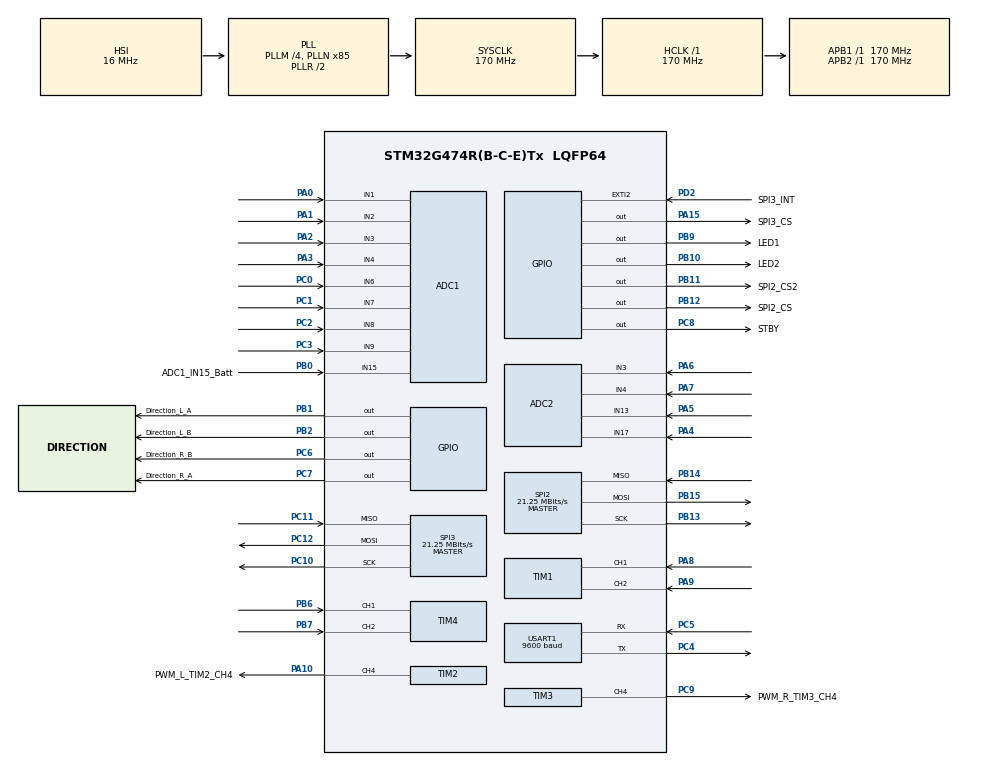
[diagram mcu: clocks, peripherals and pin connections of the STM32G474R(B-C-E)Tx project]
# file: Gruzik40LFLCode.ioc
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ADC1.Channel-0\#ChannelRegularConversion=ADC_CHANNEL_3
ADC1.Channel-1\#ChannelRegularConversion=ADC_CHANNEL_2
ADC1.Channel-2\#ChannelRegularConversion=ADC_CHANNEL_1
ADC1.Channel-3\#ChannelRegularConversion=ADC_CHANNEL_9
ADC1.Channel-4\#ChannelRegularConversion=ADC_CHANNEL_15
ADC1.Channel-5\#ChannelRegularConversion=ADC_CHANNEL_8
ADC1.Channel-6\#ChannelRegularConversion=ADC_CHANNEL_7
ADC1.Channel-7\#ChannelRegularConversion=ADC_CHANNEL_6
ADC1.Channel-8\#ChannelRegularConversion=ADC_CHANNEL_4
ADC1.ContinuousConvMode=ENABLE
ADC1.DMAContinuousRequests=ENABLE
ADC1.EnableAnalogWatchDog1=false
ADC1.NbrOfConversion=9
ADC1.NbrOfConversionFlag=1
ADC1.OffsetNumber-0\#ChannelRegularConversion=ADC_OFFSET_NONE
ADC1.OffsetNumber-1\#ChannelRegularConversion=ADC_OFFSET_NONE
ADC1.OffsetNumber-2\#ChannelRegularConversion=ADC_OFFSET_NONE
ADC1.OffsetNumber-3\#ChannelRegularConversion=ADC_OFFSET_NONE
ADC1.OffsetNumber-4\#ChannelRegularConversion=ADC_OFFSET_NONE
ADC1.OffsetNumber-5\#ChannelRegularConversion=ADC_OFFSET_NONE
ADC1.OffsetNumber-6\#ChannelRegularConversion=ADC_OFFSET_NONE
ADC1.OffsetNumber-7\#ChannelRegularConversion=ADC_OFFSET_NONE
ADC1.OffsetNumber-8\#ChannelRegularConversion=ADC_OFFSET_NONE
ADC1.Rank-0\#ChannelRegularConversion=1
ADC1.Rank-1\#ChannelRegularConversion=2
ADC1.Rank-2\#ChannelRegularConversion=3
ADC1.Rank-3\#ChannelRegularConversion=4
ADC1.Rank-4\#ChannelRegularConversion=5
ADC1.Rank-5\#ChannelRegularConversion=6
ADC1.Rank-6\#ChannelRegularConversion=7
ADC1.Rank-7\#ChannelRegularConversion=8
ADC1.Rank-8\#ChannelRegularConversion=9
ADC1.SamplingTime-0\#ChannelRegularConversion=ADC_SAMPLETIME_47CYCLES_5
ADC1.SamplingTime-1\#ChannelRegularConversion=ADC_SAMPLETIME_47CYCLES_5
ADC1.SamplingTime-2\#ChannelRegularConversion=ADC_SAMPLETIME_47CYCLES_5
ADC1.SamplingTime-3\#ChannelRegularConversion=ADC_SAMPLETIME_47CYCLES_5
ADC1.SamplingTime-4\#ChannelRegularConversion=ADC_SAMPLETIME_47CYCLES_5
ADC1.SamplingTime-5\#ChannelRegularConversion=ADC_SAMPLETIME_47CYCLES_5
ADC1.SamplingTime-6\#ChannelRegularConversion=ADC_SAMPLETIME_47CYCLES_5
ADC1.SamplingTime-7\#ChannelRegularConversion=ADC_SAMPLETIME_47CYCLES_5
ADC1.SamplingTime-8\#ChannelRegularConversion=ADC_SAMPLETIME_47CYCLES_5
ADC1.master=1
ADC2.Channel-0\#ChannelRegularConversion=ADC_CHANNEL_17
ADC2.Channel-1\#ChannelRegularConversion=ADC_CHANNEL_13
ADC2.Channel-2\#ChannelRegularConversion=ADC_CHANNEL_3
ADC2.Channel-3\#ChannelRegularConversion=ADC_CHANNEL_4
ADC2.ContinuousConvMode=ENABLE
ADC2.DMAContinuousRequests=ENABLE
ADC2.NbrOfConversion=4
ADC2.NbrOfConversionFlag=1
ADC2.OffsetNumber-0\#ChannelRegularConversion=ADC_OFFSET_NONE
ADC2.OffsetNumber-1\#ChannelRegularConversion=ADC_OFFSET_NONE
ADC2.OffsetNumber-2\#ChannelRegularConversion=ADC_OFFSET_NONE
ADC2.OffsetNumber-3\#ChannelRegularConversion=ADC_OFFSET_NONE
ADC2.Rank-0\#ChannelRegularConversion=1
ADC2.Rank-1\#ChannelRegularConversion=2
ADC2.Rank-2\#ChannelRegularConversion=3
ADC2.Rank-3\#ChannelRegularConversion=4
ADC2.SamplingTime-0\#ChannelRegularConversion=ADC_SAMPLETIME_47CYCLES_5
ADC2.SamplingTime-1\#ChannelRegularConversion=ADC_SAMPLETIME_47CYCLES_5
ADC2.SamplingTime-2\#ChannelRegularConversion=ADC_SAMPLETIME_47CYCLES_5
ADC2.SamplingTime-3\#ChannelRegularConversion=ADC_SAMPLETIME_47CYCLES_5
Dma.ADC1.0.Direction=DMA_PERIPH_TO_MEMORY
Dma.ADC1.0.EventEnable=DISABLE
Dma.ADC1.0.Instance=DMA1_Channel1
Dma.ADC1.0.MemDataAlignment=DMA_MDATAALIGN_HALFWORD
Dma.ADC1.0.MemInc=DMA_MINC_ENABLE
Dma.ADC1.0.Mode=DMA_CIRCULAR
Dma.ADC1.0.PeriphDataAlignment=DMA_PDATAALIGN_HALFWORD
Dma.ADC1.0.PeriphInc=DMA_PINC_DISABLE
Dma.ADC1.0.Polarity=HAL_DMAMUX_REQ_GEN_RISING
Dma.ADC1.0.Priority=DMA_PRIORITY_LOW
Dma.ADC1.0.RequestNumber=1
Dma.ADC1.0.SignalID=NONE
Dma.ADC1.0.SyncEnable=DISABLE
Dma.ADC1.0.SyncPolarity=HAL_DMAMUX_SYNC_NO_EVENT
Dma.ADC1.0.SyncRequestNumber=1
Dma.ADC1.0.SyncSignalID=NONE
Dma.ADC2.1.Direction=DMA_PERIPH_TO_MEMORY
Dma.ADC2.1.EventEnable=DISABLE
Dma.ADC2.1.Instance=DMA1_Channel2
Dma.ADC2.1.MemDataAlignment=DMA_MDATAALIGN_HALFWORD
Dma.ADC2.1.MemInc=DMA_MINC_ENABLE
Dma.ADC2.1.Mode=DMA_CIRCULAR
Dma.ADC2.1.PeriphDataAlignment=DMA_PDATAALIGN_HALFWORD
Dma.ADC2.1.PeriphInc=DMA_PINC_DISABLE
Dma.ADC2.1.Polarity=HAL_DMAMUX_REQ_GEN_RISING
Dma.ADC2.1.Priority=DMA_PRIORITY_LOW
Dma.ADC2.1.RequestNumber=1
Dma.ADC2.1.SignalID=NONE
Dma.ADC2.1.SyncEnable=DISABLE
Dma.ADC2.1.SyncPolarity=HAL_DMAMUX_SYNC_NO_EVENT
Dma.ADC2.1.SyncRequestNumber=1
Dma.ADC2.1.SyncSignalID=NONE
Dma.Request0=ADC1
Dma.Request1=ADC2
Dma.Request2=TIM3_CH4
Dma.Request3=TIM2_CH4
Dma.TIM2_CH4.3.Direction=DMA_MEMORY_TO_PERIPH
Dma.TIM2_CH4.3.EventEnable=DISABLE
Dma.TIM2_CH4.3.Instance=DMA1_Channel5
Dma.TIM2_CH4.3.MemDataAlignment=DMA_MDATAALIGN_WORD
Dma.TIM2_CH4.3.MemInc=DMA_MINC_ENABLE
Dma.TIM2_CH4.3.Mode=DMA_NORMAL
Dma.TIM2_CH4.3.PeriphDataAlignment=DMA_PDATAALIGN_WORD
Dma.TIM2_CH4.3.PeriphInc=DMA_PINC_DISABLE
Dma.TIM2_CH4.3.Polarity=HAL_DMAMUX_REQ_GEN_RISING
Dma.TIM2_CH4.3.Priority=DMA_PRIORITY_VERY_HIGH
Dma.TIM2_CH4.3.RequestNumber=1
Dma.TIM2_CH4.3.SignalID=NONE
Dma.TIM2_CH4.3.SyncEnable=DISABLE
Dma.TIM2_CH4.3.SyncPolarity=HAL_DMAMUX_SYNC_NO_EVENT
Dma.TIM2_CH4.3.SyncRequestNumber=1
Dma.TIM2_CH4.3.SyncSignalID=NONE
Dma.TIM3_CH4.2.Direction=DMA_MEMORY_TO_PERIPH
Dma.TIM3_CH4.2.EventEnable=DISABLE
Dma.TIM3_CH4.2.Instance=DMA1_Channel4
Dma.TIM3_CH4.2.MemDataAlignment=DMA_MDATAALIGN_WORD
Dma.TIM3_CH4.2.MemInc=DMA_MINC_ENABLE
Dma.TIM3_CH4.2.Mode=DMA_NORMAL
Dma.TIM3_CH4.2.PeriphDataAlignment=DMA_PDATAALIGN_WORD
Dma.TIM3_CH4.2.PeriphInc=DMA_PINC_DISABLE
Dma.TIM3_CH4.2.Polarity=HAL_DMAMUX_REQ_GEN_RISING
Dma.TIM3_CH4.2.Priority=DMA_PRIORITY_VERY_HIGH
Dma.TIM3_CH4.2.RequestNumber=1
Dma.TIM3_CH4.2.SignalID=NONE
Dma.TIM3_CH4.2.SyncEnable=DISABLE
Dma.TIM3_CH4.2.SyncPolarity=HAL_DMAMUX_SYNC_NO_EVENT
Dma.TIM3_CH4.2.SyncRequestNumber=1
Dma.TIM3_CH4.2.SyncSignalID=NONE
Mcu.Family=STM32G4
Mcu.Name=STM32G474R(B-C-E)Tx
Mcu.Package=LQFP64
NVIC.DMA1_Channel1_IRQn=true\:0\:0\:false\:false\:true\:false\:true\:true
NVIC.DMA1_Channel2_IRQn=true\:0\:0\:false\:false\:true\:false\:true\:true
NVIC.DMA1_Channel4_IRQn=true\:0\:0\:false\:false\:true\:false\:true\:true
NVIC.DMA1_Channel5_IRQn=true\:0\:0\:false\:false\:true\:false\:true\:true
NVIC.PriorityGroup=NVIC_PRIORITYGROUP_4
NVIC.RCC_IRQn=true\:0\:0\:false\:false\:true\:true\:false\:true
NVIC.TIM20_UP_IRQn=true\:0\:0\:false\:false\:true\:true\:true\:true
NVIC.TIM2_IRQn=true\:0\:0\:false\:false\:true\:true\:true\:false
NVIC.TIM3_IRQn=true\:0\:0\:false\:false\:true\:true\:true\:false
NVIC.TIM5_IRQn=true\:0\:0\:false\:false\:true\:true\:true\:true
NVIC.TIM8_BRK_IRQn=true\:0\:0\:false\:false\:true\:true\:true\:true
NVIC.TIM8_UP_IRQn=true\:0\:0\:false\:false\:true\:true\:true\:true
NVIC.USART1_IRQn=true\:0\:0\:false\:false\:true\:true\:true\:true
PA0.Mode=IN1-Single-Ended
PA0.Signal=ADC1_IN1
PA1.Mode=IN2-Single-Ended
PA1.Signal=ADC1_IN2
PA10.GPIO_Label=PWM_L_TIM2_CH4
PA10.Signal=S_TIM2_CH4
PA13.Mode=Serial_Wire
PA13.Signal=SYS_JTMS-SWDIO
PA14.Mode=Serial_Wire
PA14.Signal=SYS_JTCK-SWCLK
PA15.GPIO_Label=SPI3_CS
PA15.Signal=GPIO_Output
PA2.Mode=IN3-Single-Ended
PA2.Signal=ADC1_IN3
PA3.Mode=IN4-Single-Ended
PA3.Signal=ADC1_IN4
PA4.Mode=IN17-Single-Ended
PA4.Signal=ADC2_IN17
PA5.Mode=IN13-Single-Ended
PA5.Signal=ADC2_IN13
PA6.Mode=IN3-Single-Ended
PA6.Signal=ADC2_IN3
PA7.Mode=IN4-Single-Ended
PA7.Signal=ADC2_IN4
PA8.Signal=S_TIM1_CH1
PA9.Signal=S_TIM1_CH2
PB0.GPIO_Label=ADC1_IN15_Batt
PB0.Mode=IN15-Single-Ended
PB0.Signal=ADC1_IN15
PB1.GPIO_Label=Direction_L_A
PB1.Signal=GPIO_Output
PB10.GPIO_Label=LED2
PB10.Signal=GPIO_Output
PB11.GPIO_Label=SPI2_CS2
PB11.PinState=GPIO_PIN_SET
PB11.Signal=GPIO_Output
PB12.GPIO_Label=SPI2_CS
PB12.Signal=GPIO_Output
PB13.Mode=Full_Duplex_Master
PB13.Signal=SPI2_SCK
PB14.Mode=Full_Duplex_Master
PB14.Signal=SPI2_MISO
PB15.Mode=Full_Duplex_Master
PB15.Signal=SPI2_MOSI
PB2.GPIO_Label=Direction_L_B
PB2.Signal=GPIO_Output
PB6.Signal=S_TIM4_CH1
PB7.Signal=S_TIM4_CH2
PB9.GPIO_Label=LED1
PB9.Signal=GPIO_Output
PC0.Mode=IN6-Single-Ended
PC0.Signal=ADC1_IN6
PC1.Mode=IN7-Single-Ended
PC1.Signal=ADC1_IN7
PC10.Mode=Full_Duplex_Master
PC10.Signal=SPI3_SCK
PC11.Mode=Full_Duplex_Master
PC11.Signal=SPI3_MISO
PC12.Mode=Full_Duplex_Master
PC12.Signal=SPI3_MOSI
PC2.Mode=IN8-Single-Ended
PC2.Signal=ADC1_IN8
PC3.Mode=IN9-Single-Ended
PC3.Signal=ADC1_IN9
PC4.Mode=Asynchronous
PC4.Signal=USART1_TX
PC5.Mode=Asynchronous
PC5.Signal=USART1_RX
PC6.GPIO_Label=Direction_R_B
PC6.Signal=GPIO_Output
PC7.GPIO_Label=Direction_R_A
PC7.Signal=GPIO_Output
PC8.GPIO_Label=STBY
PC8.Signal=GPIO_Output
PC9.GPIO_Label=PWM_R_TIM3_CH4
PC9.Signal=S_TIM3_CH4
PD2.GPIO_Label=SPI3_INT
PD2.Signal=GPXTI2
PF0-OSC_IN.Mode=HSE-External-Oscillator
PF0-OSC_IN.Signal=RCC_OSC_IN
PF1-OSC_OUT.Mode=HSE-External-Oscillator
PF1-OSC_OUT.Signal=RCC_OSC_OUT
ProjectManager.HeapSize=0x200
ProjectManager.StackSize=0x400
ProjectManager.TargetToolchain=STM32CubeIDE
RCC.ADC12Freq_Value=170000000
RCC.ADC345Freq_Value=170000000
RCC.AHBFreq_Value=170000000
RCC.APB1Freq_Value=170000000
RCC.APB1TimFreq_Value=170000000
RCC.APB2Freq_Value=170000000
RCC.APB2TimFreq_Value=170000000
RCC.CK48CLockSelection=RCC_USBCLKSOURCE_HSI48
RCC.CortexFreq_Value=170000000
RCC.EXTERNAL_CLOCK_VALUE=12288000
RCC.HCLKFreq_Value=170000000
RCC.HSE_VALUE=24000000
RCC.HSI48_VALUE=48000000
RCC.HSI_VALUE=16000000
RCC.LSE_VALUE=32768
RCC.PLLM=RCC_PLLM_DIV4
RCC.PLLN=85
RCC.SYSCLKFreq_VALUE=170000000
RCC.SYSCLKSource=RCC_SYSCLKSOURCE_PLLCLK
RCC.USBFreq_Value=48000000
RCC.VCOOutputFreq_Value=340000000
SH.S_TIM1_CH1.0=TIM1_CH1,Encoder_Interface
SH.S_TIM1_CH2.0=TIM1_CH2,Encoder_Interface
SH.S_TIM2_CH4.0=TIM2_CH4,PWM Generation4 CH4
SH.S_TIM3_CH4.0=TIM3_CH4,PWM Generation4 CH4
SH.S_TIM4_CH1.0=TIM4_CH1,Encoder_Interface
SH.S_TIM4_CH2.0=TIM4_CH2,Encoder_Interface
SPI2.BaudRatePrescaler=SPI_BAUDRATEPRESCALER_8
SPI2.CalculateBaudRate=21.25 MBits/s
SPI2.DataSize=SPI_DATASIZE_8BIT
SPI2.Direction=SPI_DIRECTION_2LINES
SPI2.Mode=SPI_MODE_MASTER
SPI2.VirtualType=VM_MASTER
SPI3.BaudRatePrescaler=SPI_BAUDRATEPRESCALER_8
SPI3.CalculateBaudRate=21.25 MBits/s
SPI3.DataSize=SPI_DATASIZE_8BIT
SPI3.Direction=SPI_DIRECTION_2LINES
SPI3.Mode=SPI_MODE_MASTER
SPI3.VirtualType=VM_MASTER
TIM1.EncoderMode=TIM_ENCODERMODE_TI12
TIM1.IC1Filter=3
TIM1.IC2Filter=10
TIM2.Channel-PWM\ Generation4\ CH4=TIM_CHANNEL_4
TIM2.OCFastMode_PWM-PWM\ Generation4\ CH4=TIM_OCFAST_DISABLE
TIM2.PeriodNoDither=286
TIM2.Prescaler=0
TIM20.CounterMode=TIM_COUNTERMODE_DOWN
TIM20.PeriodNoDither=999
TIM20.Prescaler=169
TIM3.Channel-PWM\ Generation4\ CH4=TIM_CHANNEL_4
TIM3.OCFastMode_PWM-PWM\ Generation4\ CH4=TIM_OCFAST_DISABLE
TIM3.PeriodNoDither=286
TIM3.Prescaler=0
TIM3.PulseNoDither_4=0
TIM4.EncoderMode=TIM_ENCODERMODE_TI12
TIM4.IC1Filter=3
TIM4.IC2Filter=10
TIM5.CounterMode=TIM_COUNTERMODE_DOWN
TIM5.PeriodNoDither=499
TIM5.Prescaler=169
TIM8.CounterMode=TIM_COUNTERMODE_DOWN
TIM8.PeriodNoDither=9999
TIM8.Prescaler=169
USART1.BaudRate=9600
USART1.VirtualMode-Asynchronous=VM_ASYNC
VP_FATFS_VS_Generic.Mode=User_defined
VP_SYS_VS_DBSignals.Mode=DisableDeadBatterySignals
VP_TIM20_VS_ClockSourceINT.Mode=Internal
VP_TIM2_VS_ClockSourceINT.Mode=Internal
VP_TIM5_VS_ClockSourceINT.Mode=Internal
VP_TIM8_VS_ClockSourceINT.Mode=Internal
board=custom

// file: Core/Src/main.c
/* USER CODE BEGIN Header */
/**
  ******************************************************************************
  * @file           : main.c
  * @brief          : Main program body
  ******************************************************************************
  * @attention
  *
  * Copyright (c) 2026 STMicroelectronics.
  * All rights reserved.
  *
  * This software is licensed under terms that can be found in the LICENSE file
  * in the root directory of this software component.
  * If no LICENSE file comes with this software, it is provided AS-IS.
  *
  ******************************************************************************
  */
/* USER CODE END Header */
#include "main.h"
#include "adc.h"
#include "dma.h"
#include "app_fatfs.h"
#include "spi.h"
#include "tim.h"
#include "usart.h"
#include "gpio.h"

/* USER CODE BEGIN Includes */
#include "Eeprom.h"
#include "ICM-42688p.h"
#include "Line_Follower.h"
#include "LowPassFilter.h"
#include "RingBuffer.h"
#include "SimpleParser.h"
#include "map.h"
#include "motor.h"
#include "odometry.h"
#include "robot_config.h"
#include <math.h>
#include <stdio.h>
/* USER CODE END Includes */

/* USER CODE BEGIN PD */
#define ENCODER_SPEED_FILTER_ALPHA 0.35f
#define ROBOT_TELEMETRY_PERIOD_MS 100u
/* USER CODE END PD */

/* USER CODE BEGIN PV */
uint8_t SDReadingReady = 0u;
Eeprom_t eeprom;
FRESULT FatFsResult;
FATFS SdFatFs;
FIL SdCardFile;

LineFollower_t GRUZIK;
motor_t Motor_L;
motor_t Motor_R;
ICM_t ICM;
Map_t map;
Odometry_t RobotOdom;

uint8_t RxData;
RingBuffer_t ReceiveBuffer;
uint8_t ReceivedData[PARSER_LINE_BUFFER_SIZE];
volatile uint8_t ReceivedLines;
volatile uint8_t MappingAutoClosePending;
/* USER CODE END PV */

void SystemClock_Config(void);
/* USER CODE BEGIN PFP */
static void Robot_LoadDefaultSettings(void);
static void Robot_StartPeripherals(void);
static void Robot_ResetEncoderCounters(void);
static void Robot_SampleSensorsWhenStopped(void);
static void Robot_UpdateOdometryTick(void);
static void Robot_UpdateSpeedStats(void);
static void Robot_StopOutputs(void);
static void Robot_ServiceTelemetry(void);
static void Robot_SendOdomTelemetry(void);
static void Robot_SendDebugTelemetry(void);
/* USER CODE END PFP */

int main(void)
{

  /* MCU Configuration--------------------------------------------------------*/

  /* Reset of all peripherals, Initializes the Flash interface and the Systick. */
  HAL_Init();

  /* Configure the system clock */
  SystemClock_Config();

  /* Initialize all configured peripherals */
  MX_GPIO_Init();
  MX_DMA_Init();
  MX_ADC1_Init();
  MX_SPI2_Init();
  MX_TIM1_Init();
  MX_TIM4_Init();
  MX_ADC2_Init();
  MX_SPI3_Init();
  MX_TIM2_Init();
  MX_TIM3_Init();
  MX_USART1_UART_Init();
  MX_TIM5_Init();
  MX_TIM20_Init();
  if (MX_FATFS_Init() != APP_OK) {
    Error_Handler();
  }
  MX_TIM8_Init();
  /* USER CODE BEGIN 2 */
  Robot_LoadDefaultSettings();
  Robot_StartPeripherals();

  FatFsResult = f_mount(&SdFatFs, "", 1);
  SDReadingReady = (FatFsResult == FR_OK) ? 1u : 0u;
  (void)Parser_ServicePendingBluetoothName();

  GRUZIK.PowerMode = Stop;
  /* USER CODE END 2 */

  /* Infinite loop */
  /* USER CODE BEGIN WHILE */
  uint32_t led_timer = HAL_GetTick();
  while (1)
  {
    /* USER CODE END WHILE */

    /* USER CODE BEGIN 3 */
    if (HAL_GetTick() > (led_timer + 500u))
    {
        led_timer = HAL_GetTick();
        HAL_GPIO_TogglePin(LED1_GPIO_Port, LED1_Pin);
    }

    if (ReceivedLines > 0u)
    {
        Parser_TakeLine(&ReceiveBuffer, ReceivedData);
        Parser_Parse(ReceivedData, &GRUZIK);
        ReceivedLines--;
    }

    if (MappingAutoClosePending != 0u)
    {
        MappingAutoClosePending = 0u;
        Parser_FinishMappingAutoClosed(&GRUZIK);
    }

    Robot_ServiceTelemetry();
  }
  /* USER CODE END 3 */
}

void SystemClock_Config(void)
{
  RCC_OscInitTypeDef RCC_OscInitStruct = {0};
  RCC_ClkInitTypeDef RCC_ClkInitStruct = {0};

  /** Configure the main internal regulator output voltage
  */
  HAL_PWREx_ControlVoltageScaling(PWR_REGULATOR_VOLTAGE_SCALE1_BOOST);

  /** Initializes the RCC Oscillators according to the specified parameters
  * in the RCC_OscInitTypeDef structure.
  */
  RCC_OscInitStruct.OscillatorType = RCC_OSCILLATORTYPE_HSI;
  RCC_OscInitStruct.HSIState = RCC_HSI_ON;
  RCC_OscInitStruct.HSICalibrationValue = RCC_HSICALIBRATION_DEFAULT;
  RCC_OscInitStruct.PLL.PLLState = RCC_PLL_ON;
  RCC_OscInitStruct.PLL.PLLSource = RCC_PLLSOURCE_HSI;
  RCC_OscInitStruct.PLL.PLLM = RCC_PLLM_DIV4;
  RCC_OscInitStruct.PLL.PLLN = 85;
  RCC_OscInitStruct.PLL.PLLP = RCC_PLLP_DIV2;
  RCC_OscInitStruct.PLL.PLLQ = RCC_PLLQ_DIV2;
  RCC_OscInitStruct.PLL.PLLR = RCC_PLLR_DIV2;
  if (HAL_RCC_OscConfig(&RCC_OscInitStruct) != HAL_OK)
  {
    Error_Handler();
  }

  /** Initializes the CPU, AHB and APB buses clocks
  */
  RCC_ClkInitStruct.ClockType = RCC_CLOCKTYPE_HCLK|RCC_CLOCKTYPE_SYSCLK
                              |RCC_CLOCKTYPE_PCLK1|RCC_CLOCKTYPE_PCLK2;
  RCC_ClkInitStruct.SYSCLKSource = RCC_SYSCLKSOURCE_PLLCLK;
  RCC_ClkInitStruct.AHBCLKDivider = RCC_SYSCLK_DIV1;
  RCC_ClkInitStruct.APB1CLKDivider = RCC_HCLK_DIV1;
  RCC_ClkInitStruct.APB2CLKDivider = RCC_HCLK_DIV1;

  if (HAL_RCC_ClockConfig(&RCC_ClkInitStruct, FLASH_LATENCY_4) != HAL_OK)
  {
    Error_Handler();
  }
}

/* USER CODE BEGIN 4 */
static void Robot_LoadDefaultSettings(void)
{
    GRUZIK.PowerMode = Initialization;
    GRUZIK.state = PidFollowing;
    GRUZIK.Kp = 0.015f;
    GRUZIK.Kd = 0.55f;
    GRUZIK.Base_speed_R = 125.0f;
    GRUZIK.Base_speed_L = 125.0f;
    GRUZIK.Max_speed_R = 200.0f;
    GRUZIK.Max_speed_L = 200.0f;
    GRUZIK.Sharp_bend_speed_right = -75.0f;
    GRUZIK.Sharp_bend_speed_left = 120.0f;
    GRUZIK.Bend_speed_right = -75.0f;
    GRUZIK.Bend_speed_left = 120.0f;
    GRUZIK.Speed_offset = 0.014f;
    GRUZIK.Speed_level = 1.0f;
    GRUZIK.treshold = 3300u;
    GRUZIK.LastEndTimer = HAL_GetTick();
    GRUZIK.GapBridgeActive = 0u;
    GRUZIK.GapBridgeArmed = 0u;
    GRUZIK.GapBridgeStartMs = 0u;
    GRUZIK.LastLineMotorRight = 0.0f;
    GRUZIK.LastLineMotorLeft = 0.0f;

    map.p = 90.0f;
    map.i = 0.0f;
    map.d = 10.0f;
    map.DefaultPlaybackSpeed = 80.0f;
    Map_Reset(&map);

    Motor_Init(&Motor_R, 0.0f, 0.0f);
    Motor_Init(&Motor_L, 0.0f, 0.0f);
    Motor_SetEncoderDirection(&Motor_L, ROBOT_LEFT_ENCODER_DIRECTION);
    Motor_SetEncoderDirection(&Motor_R, ROBOT_RIGHT_ENCODER_DIRECTION);

    LowPassFilter_Init(&Motor_R.EncoderRpmFilter, ENCODER_SPEED_FILTER_ALPHA);
    LowPassFilter_Init(&Motor_L.EncoderRpmFilter, ENCODER_SPEED_FILTER_ALPHA);
    LowPassFilter_Init(&Motor_L.MetersPerSecondLPF, ENCODER_SPEED_FILTER_ALPHA);
    LowPassFilter_Init(&Motor_R.MetersPerSecondLPF, ENCODER_SPEED_FILTER_ALPHA);

    Odometry_Init(&RobotOdom, ROBOT_ODOMETRY_GYRO_WEIGHT);
}

static void Robot_StartPeripherals(void)
{
    HAL_GPIO_WritePin(SPI2_CS_GPIO_Port, SPI2_CS_Pin, GPIO_PIN_SET);
    HAL_GPIO_WritePin(SPI2_CS2_GPIO_Port, SPI2_CS2_Pin, GPIO_PIN_SET);
    HAL_GPIO_WritePin(SPI3_CS_GPIO_Port, SPI3_CS_Pin, GPIO_PIN_SET);

    (void)ICM_Init(&ICM, &hspi3);
    (void)ICM_CalibrateGyroZ(&ICM, 300u, 1u);

    HAL_TIM_Base_Start_IT(&htim20);
    HAL_TIM_Base_Start_IT(&htim5);
    HAL_TIM_Base_Start_IT(&htim8);
    HAL_TIM_PWM_Start(&htim2, TIM_CHANNEL_4);
    HAL_TIM_PWM_Start(&htim3, TIM_CHANNEL_4);

    HAL_ADC_Start_DMA(&hadc1, (uint32_t *)&GRUZIK.Adc1_Values, 9);
    HAL_ADC_Start_DMA(&hadc2, (uint32_t *)&GRUZIK.Adc2_Values, 4);
    HAL_UART_Receive_IT(&huart1, &RxData, 1);

    HAL_TIM_Encoder_Start(&htim4, TIM_CHANNEL_ALL);
    HAL_TIM_Encoder_Start(&htim1, TIM_CHANNEL_ALL);
    Robot_ResetEncoderCounters();
}

static void Robot_ResetEncoderCounters(void)
{
    __HAL_TIM_SET_COUNTER(&htim4, ROBOT_ENCODER_COUNTER_CENTER);
    __HAL_TIM_SET_COUNTER(&htim1, ROBOT_ENCODER_COUNTER_CENTER);
}

static void Robot_SampleSensorsWhenStopped(void)
{
    Motor_L.EncoderValue = __HAL_TIM_GET_COUNTER(&htim4);
    Motor_R.EncoderValue = __HAL_TIM_GET_COUNTER(&htim1);
    Robot_ResetEncoderCounters();

    Motor_CalculateSpeed(&Motor_L);
    Motor_CalculateSpeed(&Motor_R);
    (void)ICM_Read_GyroZ(&ICM);

    if ((fabsf(Motor_L.DistanceInMeasurement) < ROBOT_ENCODER_STATIONARY_M) &&
        (fabsf(Motor_R.DistanceInMeasurement) < ROBOT_ENCODER_STATIONARY_M) &&
        (fabsf(ICM.Gyro_Z) < ROBOT_GYRO_STATIONARY_DPS))
    {
        ICM_UpdateGyroZBias(&ICM, ROBOT_GYRO_BIAS_LEARN_RATE);
    }
}

static void Robot_UpdateOdometryTick(void)
{
    Motor_L.EncoderValue = __HAL_TIM_GET_COUNTER(&htim4);
    Motor_R.EncoderValue = __HAL_TIM_GET_COUNTER(&htim1);
    Robot_ResetEncoderCounters();

    Motor_CalculateSpeed(&Motor_L);
    Motor_CalculateSpeed(&Motor_R);

    uint8_t imu_ok = ICM_Read_GyroZ(&ICM);
    float gyro_z_dps = ICM.Gyro_Z;

    if (imu_ok == 0u)
    {
        float encoder_yaw_rate = (Motor_R.DistanceInMeasurement - Motor_L.DistanceInMeasurement) / ROBOT_WHEEL_BASE_M;
        gyro_z_dps = (encoder_yaw_rate / ROBOT_CONTROL_DT_S) * RAD_TO_DEG;
    }

    if ((fabsf(Motor_L.DistanceInMeasurement) < ROBOT_ENCODER_STATIONARY_M) &&
        (fabsf(Motor_R.DistanceInMeasurement) < ROBOT_ENCODER_STATIONARY_M) &&
        (fabsf(ICM.Gyro_Z) < ROBOT_GYRO_STATIONARY_DPS))
    {
        ICM_UpdateGyroZBias(&ICM, ROBOT_GYRO_BIAS_LEARN_RATE);
    }

    Odometry_Update(&RobotOdom, Motor_L.DistanceInMeasurement, Motor_R.DistanceInMeasurement, gyro_z_dps, ROBOT_CONTROL_DT_S);
    GRUZIK.Yaw = RobotOdom.pose.yaw_rad;
    GRUZIK.Orientation = RobotOdom.pose.yaw_rad * RAD_TO_DEG;
}

static void Robot_UpdateSpeedStats(void)
{
    float current_speed = 0.5f * (Motor_R.MetersPerSecondLPF.output + Motor_L.MetersPerSecondLPF.output);
    if (current_speed < 0.0f)
    {
        current_speed = -current_speed;
    }

    GRUZIK.AverageSpeedSum += current_speed;
    GRUZIK.AverageSpeedNum += 1.0f;
    GRUZIK.AverageSpeed = GRUZIK.AverageSpeedSum / GRUZIK.AverageSpeedNum;

    if (current_speed > GRUZIK.MaxSpeed)
    {
        GRUZIK.MaxSpeed = current_speed;
    }
}

static void Robot_StopOutputs(void)
{
    motor_control(&GRUZIK, 0.0f, 0.0f);
    HAL_GPIO_WritePin(STBY_GPIO_Port, STBY_Pin, GPIO_PIN_RESET);
}

static void Robot_ServiceTelemetry(void)
{
    static uint32_t last_telemetry_ms = 0u;

    if (TelemetryMode == TELEMETRY_OFF)
    {
        return;
    }

    uint32_t now = HAL_GetTick();
    if ((now - last_telemetry_ms) < ROBOT_TELEMETRY_PERIOD_MS)
    {
        return;
    }
    last_telemetry_ms = now;

    if (TelemetryMode == TELEMETRY_DEBUG)
    {
        (void)LineFollower_UpdateSensors(&GRUZIK);
        Robot_SendOdomTelemetry();
        Robot_SendDebugTelemetry();
    }
    else
    {
        Robot_SendOdomTelemetry();
    }
}

static void Robot_SendOdomTelemetry(void)
{
    char tx[192];
    int len = snprintf(tx, sizeof(tx),
                       "ODOM,%.4f,%.4f,%.2f,%.4f,%.3f,%.3f,%.2f,%.2f,%.2f\r\n",
                       RobotOdom.pose.x_m,
                       RobotOdom.pose.y_m,
                       RobotOdom.pose.yaw_rad * RAD_TO_DEG,
                       RobotOdom.total_distance_m,
                       Motor_L.MetersPerSecondLPF.output,
                       Motor_R.MetersPerSecondLPF.output,
                       ICM.Gyro_Z,
                       RobotOdom.encoder_yaw_rad * RAD_TO_DEG,
                       RobotOdom.gyro_yaw_rad * RAD_TO_DEG);

    if ((len > 0) && (len < (int)sizeof(tx)))
    {
        HAL_UART_Transmit(&huart1, (uint8_t *)tx, (uint16_t)len, 100);
    }
}

static void Robot_SendDebugTelemetry(void)
{
    char tx[320];
    int len = snprintf(tx, sizeof(tx),
                       "DBG,%d,%d,%d,%ld,%ld,%.1f,%.1f,%.4f,%.4f,%.2f,%.2f,%.2f,%u,%u,%u,%u,%u,%u,%u,%u,%u,%u,%u,%u\r\n",
                       GRUZIK.SensorPosition,
                       GRUZIK.actives,
                       GRUZIK.Last_end,
                       (long)Motor_L.EncoderDeltaCounts,
                       (long)Motor_R.EncoderDeltaCounts,
                       Motor_L.EncoderRpmFilter.output,
                       Motor_R.EncoderRpmFilter.output,
                       Motor_L.DistanceTraveled,
                       Motor_R.DistanceTraveled,
                       ICM.Gyro_Z_RawDps,
                       ICM.Gyro_Z_BiasDps,
                       ICM.Gyro_Z,
                       GRUZIK.Adc1_Values[0],
                       GRUZIK.Adc1_Values[1],
                       GRUZIK.Adc1_Values[2],
                       GRUZIK.Adc1_Values[3],
                       GRUZIK.Adc1_Values[5],
                       GRUZIK.Adc1_Values[6],
                       GRUZIK.Adc1_Values[7],
                       GRUZIK.Adc1_Values[8],
                       GRUZIK.Adc2_Values[0],
                       GRUZIK.Adc2_Values[1],
                       GRUZIK.Adc2_Values[2],
                       GRUZIK.Adc2_Values[3]);

    if ((len > 0) && (len < (int)sizeof(tx)))
    {
        HAL_UART_Transmit(&huart1, (uint8_t *)tx, (uint16_t)len, 100);
    }
}

void HAL_UART_RxCpltCallback(UART_HandleTypeDef *huart)
{
    if (huart->Instance == USART1)
    {
        if (RB_Write(&ReceiveBuffer, RxData) == RB_OK)
        {
            if (RxData == ENDLINE)
            {
                ReceivedLines++;
            }
        }
        HAL_UART_Receive_IT(&huart1, &RxData, 1);
    }
}

void HAL_TIM_PeriodElapsedCallback(TIM_HandleTypeDef *htim)
{
    if (htim->Instance == TIM20)
    {
        if (GRUZIK.PowerMode != Start)
        {
            if (TelemetryMode != TELEMETRY_OFF)
            {
                Robot_SampleSensorsWhenStopped();
            }
            else
            {
                Robot_ResetEncoderCounters();
            }
            return;
        }

        Robot_UpdateOdometryTick();

        if (GRUZIK.state == Mapping)
        {
            float speed_mps = 0.5f * (Motor_R.MetersPerSecondLPF.output + Motor_L.MetersPerSecondLPF.output);
            if (MapUpdate(&map, &RobotOdom.pose, speed_mps, GRUZIK.Error_P, GRUZIK.Error_D) == 0u)
            {
                GRUZIK.PowerMode = Stop;
                map.Mapping = 0u;
                Robot_StopOutputs();
                MappingAutoClosePending = 1u;
            }
        }
        else if (GRUZIK.state == UnMapping)
        {
            if (DriveOnMap(&map, &RobotOdom.pose) == 0u)
            {
                GRUZIK.UnMappingDone = 1u;
                GRUZIK.DoneUnMappingTimer = HAL_GetTick();
                GRUZIK.state = PidFollowing;
            }
        }
    }

    if (htim->Instance == TIM5)
    {
        if (GRUZIK.PowerMode == Start)
        {
            HAL_GPIO_WritePin(STBY_GPIO_Port, STBY_Pin, GPIO_PIN_SET);

            if (GRUZIK.state != UnMapping)
            {
                PID_control(&GRUZIK);
            }

            Robot_UpdateSpeedStats();

            if ((GRUZIK.UnMappingDone == 1u) && (HAL_GetTick() >= (GRUZIK.DoneUnMappingTimer + 1750u)))
            {
                GRUZIK.PowerMode = Stop;
                Robot_StopOutputs();
            }
        }
        else
        {
            Parser_ServiceManualDriveTimeout(&GRUZIK);
            if ((TireCleaningActive == 0u) && (ManualDriveActive == 0u))
            {
                Robot_StopOutputs();
            }
        }
    }
}
/* USER CODE END 4 */

void Error_Handler(void)
{
  __disable_irq();
  while (1)
  {
  }
}
#ifdef USE_FULL_ASSERT
/**
  * @brief  Reports the name of the source file and the source line number
  *         where the assert_param error has occurred.
  * @param  file: pointer to the source file name
  * @param  line: assert_param line source number
  * @retval None
  */
void assert_failed(uint8_t *file, uint32_t line)
{
  /* USER CODE BEGIN 6 */
  (void)file;
  (void)line;
  /* USER CODE END 6 */
}
#endif /* USE_FULL_ASSERT */
